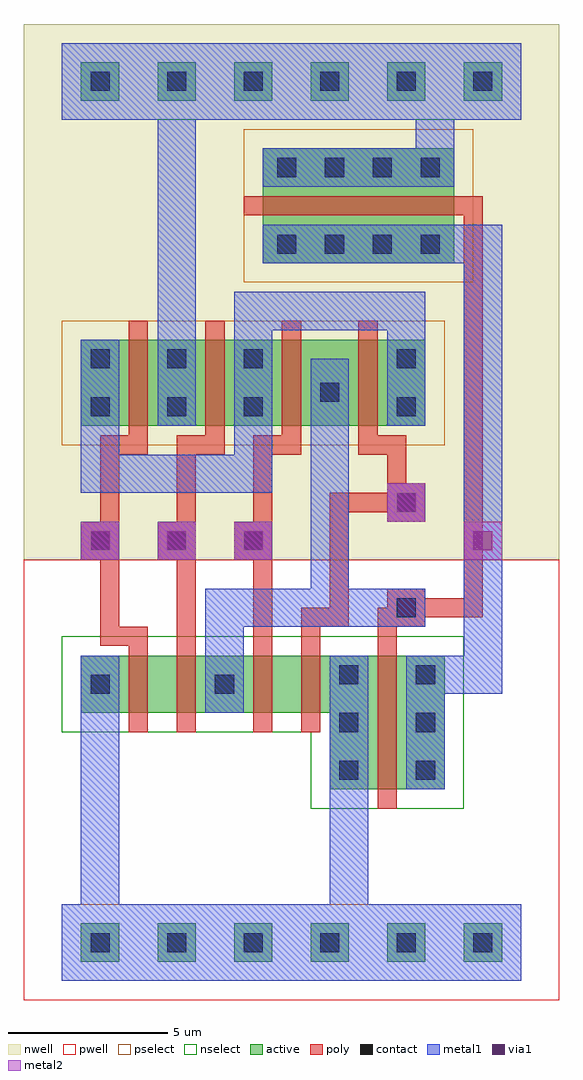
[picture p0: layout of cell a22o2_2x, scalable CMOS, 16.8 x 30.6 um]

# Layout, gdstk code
import gdstk
lib = gdstk.Library(unit=1e-6, precision=1e-09)
def R(c, l, rs):  # rectangles x0, y0, x1, y1
    for r in rs: c.add(gdstk.rectangle(r[:2], r[2:], *l))
def A(c, l, x, y, w, h, nx, ny, dx, dy):  # array of equal rectangles
    R(c, l, [(x+i*dx, y+j*dy, x+i*dx+w, y+j*dy+h) for i in range(nx) for j in range(ny)])
contact = (25, 0)
pwell = (41, 0)
nwell = (42, 0)
active = (43, 0)
pselect = (44, 0)
nselect = (45, 0)
poly = (46, 0)
metal1 = (49, 0)
via1 = (50, 0)
metal2 = (51, 0)

a22o2_2x = lib.new_cell('a22o2_2x')
A(a22o2_2x, contact, 0.3, -0.3, 0.6, 0.6, 6, 2, 2.4, 27)
A(a22o2_2x, contact, 8.1, 5.1, 0.6, 0.6, 1, 3, 0, 1.5)
A(a22o2_2x, contact, 10.5, 5.1, 0.6, 0.6, 1, 3, 0, 1.5)
A(a22o2_2x, contact, 0.3, 12.3, 0.6, 0.6, 3, 2, 2.4, 4.2)
A(a22o2_2x, contact, 0.3, 18, 0.6, 0.6, 3, 1, 2.4, 0)
A(a22o2_2x, contact, 6.15, 21.6, 0.6, 0.6, 4, 2, 1.5, 2.4)
R(a22o2_2x, contact, [(0.3,7.8,0.9,8.4), (4.2,7.8,4.8,8.4), (9.9,10.2,10.5,10.8), (9.9,13.5,10.5,14.1), (9.9,16.5,10.5,17.1), (7.5,16.95,8.1,17.55), (9.9,18,10.5,18.6)])
A(a22o2_2x, pwell, -0.9, -1.5, 3, 3, 6, 1, 2.4, 0)
R(a22o2_2x, pwell, [(-1.8,-1.8,15,12), (6,3,10.8,10.8), (6.6,3,12.6,10.8), (8.4,3,13.2,10.8), (-1.8,5.4,3,10.8), (-1.2,5.4,4.8,10.8), (0.3,5.4,6.3,10.8), (2.1,5.4,6.9,10.8), (2.7,5.4,8.7,10.8), (4.2,5.4,10.2,10.8), (-1.65,6.15,2.925,10.65), (-0.075,6.15,5.175,10.65), (2.175,6.15,6.75,10.65), (2.25,6.15,6.825,10.65), (3.825,6.15,9.075,10.65), (6.075,6.15,10.65,10.65), (6.15,6.15,10.725,10.65), (8.475,6.15,13.05,10.65)])
A(a22o2_2x, nwell, -1.8, 14.4, 4.8, 6.3, 3, 1, 2.4, 0)
A(a22o2_2x, nwell, -1.2, 14.4, 6, 6.3, 4, 1, 2.4, 0)
A(a22o2_2x, nwell, -0.9, 25.5, 3, 3, 6, 1, 2.4, 0)
R(a22o2_2x, nwell, [(-1.8,12,15,28.8), (5.4,14.4,10.2,20.1), (5.55,14.4,10.125,18.9), (7.8,14.4,12.6,20.7), (-1.65,14.55,2.925,19.05), (0.675,14.55,5.25,19.05), (0.75,14.55,5.325,19.05), (3.075,14.55,7.65,19.05), (3.15,14.55,7.725,19.05), (7.875,14.55,12.45,19.05), (5.475,15.15,10.05,19.65), (3.9,19.5,13.5,24.3), (8.85,19.65,13.35,24.225), (3.9,20.1,13.5,26.1), (3.9,21.9,13.5,26.7), (8.85,21.975,13.35,26.55)])
A(a22o2_2x, active, 0, -0.6, 1.2, 1.2, 6, 2, 2.4, 27)
A(a22o2_2x, active, 0, 16.2, 1.2, 2.7, 3, 1, 2.4, 0)
A(a22o2_2x, active, 0.6, 16.2, 2.4, 2.7, 4, 1, 2.4, 0)
R(a22o2_2x, active, [(7.8,4.8,9,9), (8.4,4.8,10.8,9), (10.2,4.8,11.4,9), (0,7.2,1.2,9), (0.6,7.2,3,9), (2.1,7.2,4.5,9), (3.9,7.2,5.1,9), (4.5,7.2,6.9,9), (6,7.2,8.4,9), (0.15,7.95,1.125,8.85), (1.725,7.95,3.375,8.85), (3.975,7.95,4.95,8.85), (4.05,7.95,5.025,8.85), (5.625,7.95,7.275,8.85), (7.875,7.95,8.85,8.85), (7.95,7.95,8.925,8.85), (10.275,7.95,11.25,8.85), (7.2,16.2,8.4,18.3), (7.35,16.2,8.325,17.1), (9.6,16.2,10.8,18.9), (0.15,16.35,1.125,17.25), (2.475,16.35,3.45,17.25), (2.55,16.35,3.525,17.25), (4.875,16.35,5.85,17.25), (4.95,16.35,5.925,17.25), (9.675,16.35,10.65,17.25), (7.275,16.95,8.25,17.85), (5.7,21.3,11.7,22.5), (10.65,21.45,11.55,22.425), (5.7,21.9,11.7,24.3), (5.7,23.7,11.7,24.9), (10.65,23.775,11.55,24.75)])
A(a22o2_2x, pselect, -0.6, -1.2, 2.4, 2.4, 6, 1, 2.4, 0)
A(a22o2_2x, pselect, -0.6, 15.6, 2.4, 3.9, 3, 1, 2.4, 0)
A(a22o2_2x, pselect, 0, 15.6, 3.6, 3.9, 4, 1, 2.4, 0)
R(a22o2_2x, pselect, [(6.6,15.6,9,18.9), (6.75,15.6,8.925,17.7), (9,15.6,11.4,19.5), (-0.45,15.75,1.725,17.85), (1.875,15.75,4.05,17.85), (1.95,15.75,4.125,17.85), (4.275,15.75,6.45,17.85), (4.35,15.75,6.525,17.85), (9.075,15.75,11.25,17.85), (6.675,16.35,8.85,18.45), (5.1,20.7,12.3,23.1), (10.05,20.85,12.15,23.025), (5.1,21.3,12.3,24.9), (5.1,23.1,12.3,25.5), (10.05,23.175,12.15,25.35)])
A(a22o2_2x, nselect, -0.6, 25.8, 2.4, 2.4, 6, 1, 2.4, 0)
R(a22o2_2x, nselect, [(7.2,4.2,9.6,9.6), (7.8,4.2,11.4,9.6), (9.6,4.2,12,9.6), (-0.6,6.6,1.8,9.6), (0,6.6,3.6,9.6), (1.5,6.6,5.1,9.6), (3.3,6.6,5.7,9.6), (3.9,6.6,7.5,9.6), (5.4,6.6,9,9.6), (-0.45,7.35,1.725,9.45), (1.125,7.35,3.975,9.45), (3.375,7.35,5.55,9.45), (3.45,7.35,5.625,9.45), (5.025,7.35,7.875,9.45), (7.275,7.35,9.45,9.45), (7.35,7.35,9.525,9.45), (9.675,7.35,11.85,9.45)])
A(a22o2_2x, poly, 0, 12, 1.2, 1.2, 3, 1, 2.4, 0)
A(a22o2_2x, poly, 0.6, 15.3, 1.5, 0.6, 3, 1, 2.4, 0)
A(a22o2_2x, poly, 1.5, 15.6, 0.6, 3.9, 4, 1, 2.4, 0)
R(a22o2_2x, poly, [(9.3,4.2,9.9,9.6), (1.5,6.6,2.1,9.6), (3,6.6,3.6,9.6), (5.4,6.6,6,9.6), (6.9,6.6,7.5,9.6), (0.6,9.3,1.2,12.9), (0.6,9.3,2.1,9.9), (3,9.3,3.6,12.9), (5.4,9.3,6,13.05), (6.9,9.3,7.5,10.5), (9.3,9.3,9.9,10.5), (6.9,9.9,8.4,10.5), (7.8,9.9,8.4,14.1), (9.3,9.9,10.35,10.5), (9.6,9.9,10.8,11.1), (9.75,9.9,10.35,10.8), (9.75,10.2,12.6,10.8), (12,10.2,12.6,23.4), (0.3,12.3,1.2,12.9), (0.6,12.3,1.2,15.9), (2.7,12.3,3.6,12.9), (3,12.3,3.6,15.9), (5.1,12.45,6,13.05), (5.4,12.45,6,15.9), (9.6,13.2,10.8,14.4), (7.8,13.5,10.2,14.1), (9.6,13.5,10.5,14.1), (9.6,13.5,10.2,15.9), (8.7,15.3,10.2,15.9), (5.1,22.8,12.3,23.4)])
A(a22o2_2x, metal1, -0.6, -1.2, 4.8, 2.4, 3, 1, 2.4, 0)
A(a22o2_2x, metal1, 0, -0.6, 1.2, 1.2, 6, 1, 2.4, 0)
A(a22o2_2x, metal1, 0, 16.2, 1.2, 2.7, 3, 1, 2.4, 0)
A(a22o2_2x, metal1, 0, 26.4, 1.2, 1.2, 4, 1, 2.4, 0)
R(a22o2_2x, metal1, [(-0.6,-1.2,1.8,1.2), (-0.6,-1.2,4.2,1.2), (6.6,-1.2,9.6,1.2), (6.6,-1.2,9.6,1.2), (7.2,-1.2,11.4,1.2), (9,-1.2,13.8,1.2), (0,-0.6,1.2,0.6), (0,-0.6,1.2,8.85), (7.8,-0.6,9,8.85), (12,-0.6,13.2,0.6), (7.8,4.8,9,9), (10.2,4.8,11.4,9), (0,7.2,1.2,9), (3.9,7.2,5.1,9), (3.9,7.8,5.1,11.1), (10.2,7.8,13.2,9), (12,7.8,13.2,13.2), (3.9,9.9,8.4,11.1), (7.2,9.9,10.65,11.1), (7.2,9.9,8.4,17.4), (9.6,9.9,10.8,11.1), (0,12,1.2,13.2), (0,12,1.2,13.2), (0,12,1.2,13.2), (2.4,12,3.6,13.2), (2.4,12,3.6,13.2), (2.4,12,3.6,13.2), (4.8,12,6,13.2), (4.8,12,6,13.2), (4.8,12,6,13.2), (12,12,13.2,13.2), (12,12,13.2,13.2), (12,12,13.2,22.5), (9.6,13.2,10.8,14.4), (9.6,13.2,10.8,14.4), (9.6,13.2,10.8,14.4), (0,14.1,6,15.3), (0,14.1,1.2,17.4), (4.8,14.1,6,17.4), (4.8,16.2,6,20.4), (7.2,16.2,8.4,18.3), (9.6,16.2,10.8,18.9), (9.6,16.2,10.8,20.4), (2.4,16.35,3.6,27.6), (4.8,19.2,10.8,20.4), (5.7,21.3,11.7,22.5), (10.5,21.3,13.2,22.5), (5.7,23.7,11.7,24.9), (10.5,23.7,11.7,27.6), (-0.6,25.8,1.8,28.2), (-0.6,25.8,4.2,28.2), (1.8,25.8,9,28.2), (6.6,25.8,11.4,28.2), (9,25.8,13.8,28.2), (9,25.8,12.3,28.2), (0,26.4,1.2,27.6), (4.8,26.4,8.4,27.6), (7.2,26.4,8.4,27.6), (9.6,26.4,10.8,27.6), (9.6,26.4,10.8,27.6), (12,26.4,13.2,27.6)])
A(a22o2_2x, via1, 0.3, 12.3, 0.6, 0.6, 3, 1, 2.4, 0)
R(a22o2_2x, via1, [(12.3,12.3,12.9,12.9), (9.9,13.5,10.5,14.1)])
A(a22o2_2x, metal2, 0, 12, 1.2, 1.2, 3, 1, 2.4, 0)
R(a22o2_2x, metal2, [(12,12,13.2,13.2), (9.6,13.2,10.8,14.4)])

lib.write_gds('a22o2_2x.gds')
